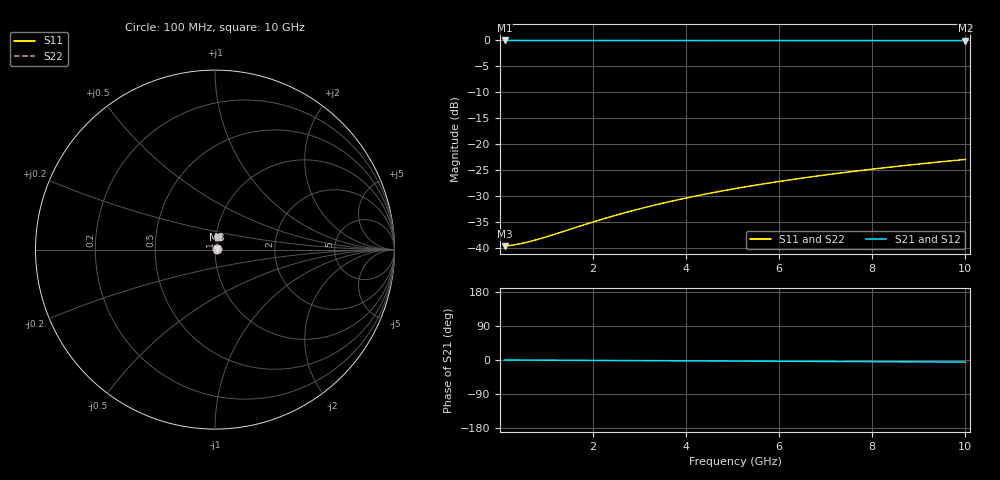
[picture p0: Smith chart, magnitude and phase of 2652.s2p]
# Hz S RI R 50.00
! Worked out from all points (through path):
!   100 points, 100 MHz to 10 GHz, reference 50 ohm
!   highest |S21| = -0.09 dB at 100 MHz (marker M1); lowest = -0.1 dB at 10 GHz (marker M2)
!   lowest |S11| = -39.7 dB at 100 MHz (marker M3), VSWR 1.02, Z = 51 + j0.0707 ohm
!   |S11| at or under -10 dB: start of sweep to end of sweep
!   |S22| runs from -39.7 to -23.0 dB; largest |S21 - S12| = 1e-14
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1e8  0.0103 0.000692  0.9897 -0.000937  0.9897 -0.000937  0.0103 0.000692
3e8  0.0105 0.00208  0.9895 -0.00281  0.9895 -0.00281  0.0105 0.00208
4e8  0.0105 0.00277  0.9895 -0.00375  0.9895 -0.00375  0.0105 0.00277
5e8  0.0106 0.00346  0.9894 -0.00468  0.9894 -0.00468  0.0106 0.00346
7e8  0.0106 0.00484  0.9894 -0.00656  0.9894 -0.00656  0.0106 0.00484
9e8  0.0107 0.00623  0.9893 -0.00843  0.9893 -0.00843  0.0107 0.00623
1.1e9  0.0108 0.00761  0.9892 -0.0103  0.9892 -0.0103  0.0108 0.00761
1.8e9  0.011 0.0124  0.989 -0.0169  0.989 -0.0169  0.011 0.0124
2.2e9  0.0111 0.0152  0.9888 -0.0206  0.9888 -0.0206  0.0111 0.0152
2.6e9  0.0113 0.018  0.9887 -0.0243  0.9887 -0.0243  0.0113 0.018
3e9  0.0115 0.0207  0.9885 -0.0281  0.9885 -0.0281  0.0115 0.0207
3.4e9  0.0117 0.0235  0.9883 -0.0318  0.9883 -0.0318  0.0117 0.0235
3.8e9  0.0119 0.0262  0.988 -0.0355  0.988 -0.0355  0.0119 0.0262
4.2e9  0.0122 0.029  0.9878 -0.0393  0.9878 -0.0393  0.0122 0.029
4.6e9  0.0124 0.0317  0.9875 -0.043  0.9875 -0.043  0.0124 0.0317
5.1e9  0.0128 0.0352  0.9871 -0.0477  0.9871 -0.0477  0.0128 0.0352
5.9e9  0.0134 0.0407  0.9865 -0.0551  0.9865 -0.0551  0.0134 0.0407
6.7e9  0.0141 0.0461  0.9857 -0.0626  0.9857 -0.0626  0.0141 0.0461
7.5e9  0.0149 0.0516  0.9849 -0.07  0.9849 -0.07  0.0149 0.0516
8.4e9  0.0159 0.0577  0.9839 -0.0783  0.9839 -0.0783  0.0159 0.0577
9.2e9  0.0168 0.0632  0.9829 -0.0857  0.9829 -0.0857  0.0168 0.0632
1e10  0.0179 0.0686  0.9818 -0.0931  0.9818 -0.0931  0.0179 0.0686
